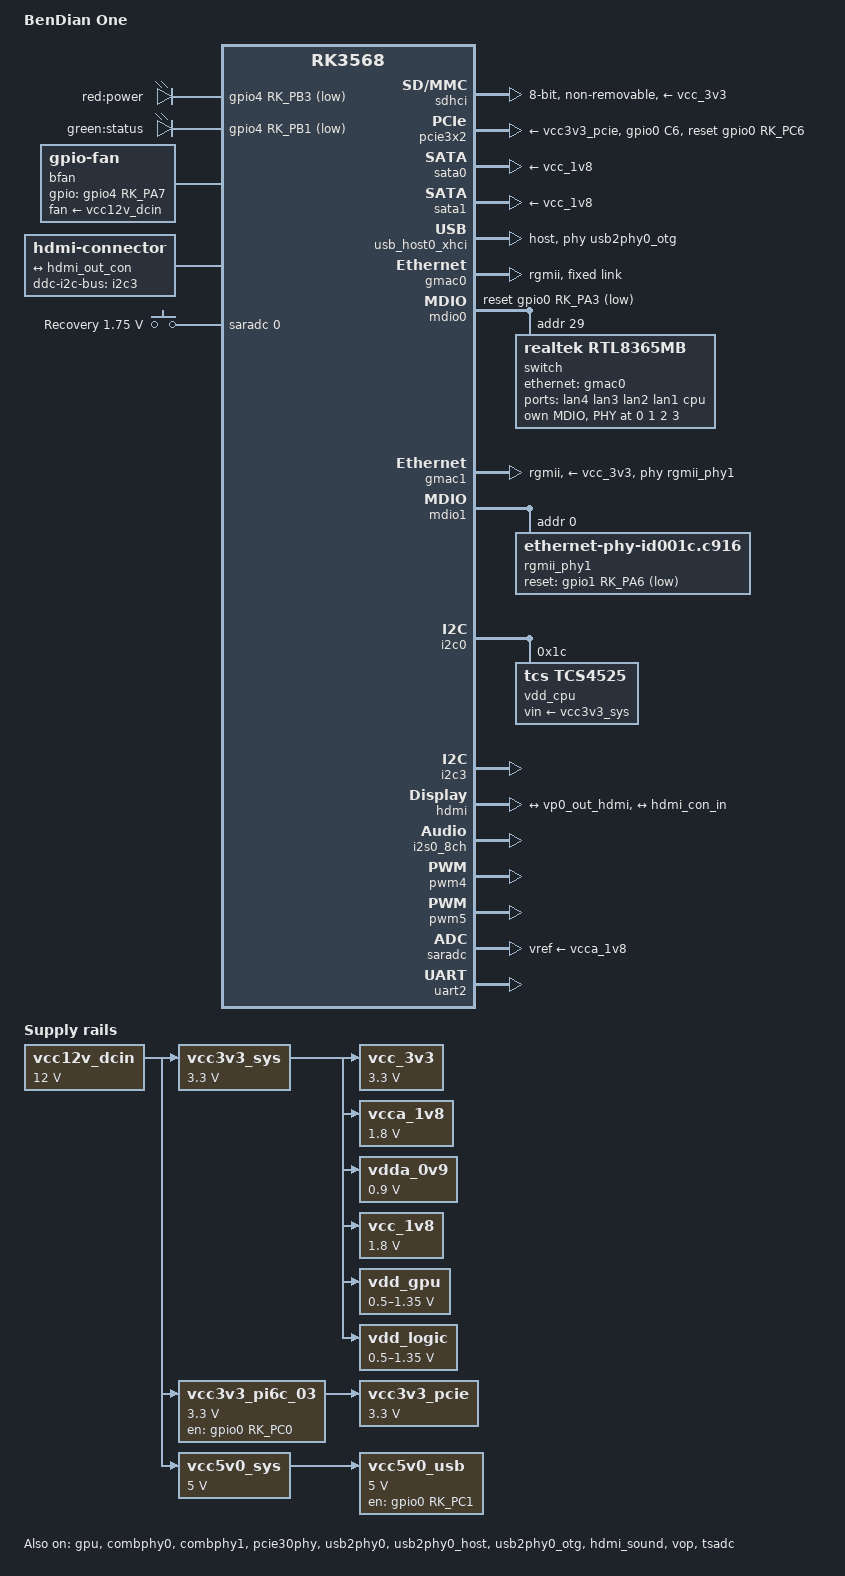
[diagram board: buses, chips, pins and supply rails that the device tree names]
// SPDX-License-Identifier: (GPL-2.0+ OR MIT)
/*
 * Ported to Linux 6.18 kernel.
 * rk3568-bd-one.k6.18v1.2-2026.09.29
 *
 * arch/arm64/boot/dts/rockchip/Makefile
 *   dtb-$(CONFIG_ARCH_ROCKCHIP) += rk3568-bd-one.dtb
 *
 *  GPU、SATA1、SATA2、USB、NVME、GMAC0、GMAC1、FAN、LED、温度传感器等功能已测试正常。
 *  vpu 禁用，HDMI无法正常使用。
 */

/dts-v1/;

#include <dt-bindings/gpio/gpio.h>
#include <dt-bindings/input/input.h>
#include <dt-bindings/leds/common.h>
#include <dt-bindings/pinctrl/rockchip.h>
#include <dt-bindings/soc/rockchip,vop2.h>
#include "rk3568.dtsi"
#include "rk3568-crypto.dtsi"

/ {
	model = "BenDian One";
	compatible = "bendian,bd-one", "rockchip,rk3568";

	aliases {
		ethernet0 = &gmac0;
		ethernet1 = &gmac1;
		mmc0 = &sdhci;
		led-boot     = &led_status;
		led-failsafe = &led_power;
		led-running  = &led_status;
		led-upgrade  = &led_power;
	};

	chosen {
		stdout-path = "serial2:1500000n8";
	};

	/* ---------------------------------------------------------------- */
	/*  Memory-reserved: CMA pool                                       */
	/* ---------------------------------------------------------------- */
	reserved-memory {
		#address-cells = <2>;
		#size-cells = <2>;
		ranges;

		cma: linux,cma {
			compatible = "shared-dma-pool";
			reusable;
			size = <0x0 0x10000000>;
			linux,cma-default;
		};
	};

	/* ---------------------------------------------------------------- */
	/*  LEDs                                                            */
	/* ---------------------------------------------------------------- */
	gpio-leds {
		compatible = "gpio-leds";
		pinctrl-names = "default";
		pinctrl-0 = <&power_led_pin &status_led_pin>;

		led_power: led-0 {
			label = "red:power";
			gpios = <&gpio4 RK_PB3 GPIO_ACTIVE_LOW>;
		};

		led_status: led-1 {
			label = "green:status";
			gpios = <&gpio4 RK_PB1 GPIO_ACTIVE_LOW>;
			linux,default-trigger = "heartbeat";
		};
	};

	/* ---------------------------------------------------------------- */
	/*  GPIO Fan 主板风扇 需要启用编译config：CONFIG_SENSORS_GPIO_FAN=y   */
	/* ---------------------------------------------------------------- */
	bfan: gpio-fan {
		compatible = "gpio-fan";
		fan-supply = <&vcc12v_dcin>; 
		gpios = <&gpio4 RK_PA7 GPIO_ACTIVE_HIGH>;
		gpio-fan,speed-map = <0 0 7500 1>;
		pinctrl-names = "default";
		pinctrl-0 = <&fan_pins>;
		#cooling-cells = <2>;
	};

	/* ---------------------------------------------------------------- */
	/*  HDMI connector                                                  */
	/* ---------------------------------------------------------------- */
	hdmi-con {
		compatible = "hdmi-connector";
		label = "hdmi";
		type = "a";
		status = "okay";
		ddc-i2c-bus = <&i2c3>;	/* DDC 走 I2C3，需要板子原理图确认 */

		port {
			hdmi_con_in: endpoint {
				remote-endpoint = <&hdmi_out_con>;
			};
		};
	};

	/* ---------------------------------------------------------------- */
	/*  ADC recovery button                                             */
	/* ---------------------------------------------------------------  */
	adc-keys {
		compatible = "adc-keys";
		io-channels = <&saradc 0>;
		io-channel-names = "buttons";
		keyup-threshold-microvolt = <1800000>;
		poll-interval = <100>;

		button-recovery {
			label = "Recovery";
			linux,code = <KEY_VENDOR>;
			press-threshold-microvolt = <1750000>;
		};
	};

	/* --------------------------------------------------------------- */
	/*  Power supply rails                                             */
	/* --------------------------------------------------------------- */
	vcc12v_dcin: vcc12v-dcin {
		compatible = "regulator-fixed";
		regulator-name = "vcc12v_dcin";
		regulator-always-on;
		regulator-boot-on;
		regulator-min-microvolt = <12000000>;
		regulator-max-microvolt = <12000000>;
	};

	vcc3v3_sys: vcc3v3-sys {
		compatible = "regulator-fixed";
		regulator-name = "vcc3v3_sys";
		regulator-always-on;
		regulator-boot-on;
		regulator-min-microvolt = <3300000>;
		regulator-max-microvolt = <3300000>;
		vin-supply = <&vcc12v_dcin>;
	};

	/* PCIe 3.0 SSD power:
	* GPIO0_C0 enable → vcc3v3_pi6c_03 → vcc3v3_pcie
	*/
	vcc3v3_pi6c_03: vcc3v3-pi6c-03 {
		compatible = "regulator-fixed";
		regulator-name = "vcc3v3_pi6c_03";
		enable-active-high;
		gpios = <&gpio0 RK_PC0 GPIO_ACTIVE_HIGH>;
		pinctrl-names = "default";
		pinctrl-0 = <&ssd_pwr_en>;
		regulator-min-microvolt = <3300000>;
		regulator-max-microvolt = <3300000>;
		vin-supply = <&vcc12v_dcin>;
		 /* “启动”时间等待 2000µs */
		regulator-enable-ramp-delay = <2000>;
	};

	vcc3v3_pcie: vcc3v3-pcie {
		compatible = "regulator-fixed";
		regulator-name = "vcc3v3_pcie";
		regulator-always-on;
		regulator-boot-on;
		regulator-min-microvolt = <3300000>;
		regulator-max-microvolt = <3300000>;
		vin-supply = <&vcc3v3_pi6c_03>;
	};

	vcc5v0_sys: vcc5v0-sys {
		compatible = "regulator-fixed";
		regulator-name = "vcc5v0_sys";
		regulator-always-on;
		regulator-boot-on;
		regulator-min-microvolt = <5000000>;
		regulator-max-microvolt = <5000000>;
		vin-supply = <&vcc12v_dcin>;
	};

	/* 5V USB power controlled by GPIO0_C1 */
	vcc5v0_usb: vcc5v0-usb {
		compatible = "regulator-fixed";
		regulator-name = "vcc5v0_usb";
		enable-active-high;
		gpios = <&gpio0 RK_PC1 GPIO_ACTIVE_HIGH>;
		pinctrl-names = "default";
		pinctrl-0 = <&usb_pwr_en>;
		regulator-min-microvolt = <5000000>;
		regulator-max-microvolt = <5000000>;
		vin-supply = <&vcc5v0_sys>;
	};

	vcc_3v3: vcc-3v3 {
		compatible = "regulator-fixed";
		regulator-name = "vcc_3v3";
		regulator-always-on;
		regulator-boot-on;
		regulator-min-microvolt = <3300000>;
		regulator-max-microvolt = <3300000>;
		vin-supply = <&vcc3v3_sys>;
	};

	vcca_1v8: vcca-1v8 {
		compatible = "regulator-fixed";
		regulator-name = "vcca_1v8";
		regulator-always-on;
		regulator-boot-on;
		regulator-min-microvolt = <1800000>;
		regulator-max-microvolt = <1800000>;
		vin-supply = <&vcc3v3_sys>;
	};

	vdda_0v9: vdda-0v9 {
		compatible = "regulator-fixed";
		regulator-name = "vdda_0v9";
		regulator-always-on;
		regulator-boot-on;
		regulator-min-microvolt = <900000>;
		regulator-max-microvolt = <900000>;
		vin-supply = <&vcc3v3_sys>;
	};

	/* 1.8V IO rail — board fixed regulator (NOT RK809 DCDC) */
	vcc_1v8: vcc-1v8 {
		compatible = "regulator-fixed";
		regulator-name = "vcc_1v8";
		regulator-always-on;
		regulator-boot-on;
		regulator-min-microvolt = <1800000>;
		regulator-max-microvolt = <1800000>;
		vin-supply = <&vcc3v3_sys>;
	};


	/* GPU core — PWM regulator on PWM4 (per factory DTS, NOT RK809) */
	vdd_gpu: vdd-gpu {
		compatible = "pwm-regulator";
		pwms = <&pwm4 0 5000 1>;
		pwm-supply = <&vcc3v3_sys>;
		regulator-name = "vdd_gpu";
		// regulator-always-on;
		// regulator-boot-on;
		regulator-init-microvolt = <900000>;
		regulator-min-microvolt = <500000>;
		regulator-max-microvolt = <1350000>;
		regulator-ramp-delay = <6001>;
		regulator-settling-time-up-us = <250>;
	};

	/* Logic core — PWM regulator on PWM5 (per factory DTS, NOT RK809) */
	vdd_logic: vdd-logic {
		compatible = "pwm-regulator";
		pwms = <&pwm5 0 5000 1>;
		pwm-supply = <&vcc3v3_sys>;
		regulator-name = "vdd_logic";
		// regulator-always-on;
		// regulator-boot-on;
		regulator-init-microvolt = <900000>;
		regulator-min-microvolt = <500000>;
		regulator-max-microvolt = <1350000>;
		regulator-ramp-delay = <6001>;
		regulator-settling-time-up-us = <250>;
	};
};

/* ====================================================================== */
/*  CPU / GPU power domains                                               */
/* ====================================================================== */
&cpu0 {
	cpu-supply = <&vdd_cpu>;
};

&cpu1 {
	cpu-supply = <&vdd_cpu>;
};

&cpu2 {
	cpu-supply = <&vdd_cpu>;
};

&cpu3 {
	cpu-supply = <&vdd_cpu>;
};

&gpu {
	// /delete-property/ operating-points-v2;
	mali-supply = <&vdd_gpu>;
	status = "okay";
};

/* ====================================================================== */
/*  eMMC(fe310000) -OK  use hs200 mode                                    */
/* ====================================================================== */
&sdhci {
	bus-width = <8>;
	max-frequency = <200000000>;
	non-removable;
	pinctrl-names = "default";
	pinctrl-0 = <&emmc_bus8 &emmc_clk &emmc_cmd>;
	mmc-hs200-1_8v;
	vmmc-supply = <&vcc_3v3>;
	vqmmc-supply = <&vcc_1v8>;
	status = "okay";
};

/* ====================================================================== */
/*  Combo PHYs                                                            */
/* ====================================================================== */
/* combphy0 (fe820000) —  sata0 和 usb_host0_xhci 共用                    */
&combphy0 {
	status = "okay";
};

/* combphy1 (fe830000) — sata1 使用 (PHY_TYPE_SATA) */
&combphy1 {
	status = "okay";
};

/* ====================================================================== */
/*  PCIe                                                                  */
/* ====================================================================== */
/* combphy2 (fe840000) → PCIe 2.0 (无硬件) */
// &combphy2 {
// 	status = "okay";
// };

/* PCIe 2.0 x1(fe260000) -原厂启用，但无对应硬件接口
 * 启用报：rockchip-dw-pcie 3c0000000.pcie: Phy link never came up  */
// &pcie2x1 {
// 	status = "okay";
// 	pinctrl-names = "default";
// 	pinctrl-0 = <&pcie20_reset_pin>;
// 	reset-gpios = <&gpio3 RK_PC1 GPIO_ACTIVE_HIGH>;
// 	vpcie3v3-supply = <&vcc3v3_sys>;
// };

/* pcie30phy(fe8c0000) → PCIe 3.0  */
&pcie30phy {
	data-lanes = <1 2>;
	status = "okay";
};

/* pcie3x2 (fe280000) -NVME SSD*/
&pcie3x2 {
	aspm-no-l0s;
	status = "okay";
	pinctrl-names = "default";
	pinctrl-0 = <&pcie30_reset_pin>;
	reset-gpios = <&gpio0 RK_PC6 GPIO_ACTIVE_HIGH>;
	reset-assert-us = <10000>;    /* reset 保持 10ms */
    reset-deassert-us = <10000>;  /* reset 释放后等待 10ms */
	vpcie3v3-supply = <&vcc3v3_pcie>;

};

/* ====================================================================== */
/*  SATA      2个SATA接口                                                 */
/* ====================================================================== */
/* (fc000000) */
&sata0 {
    status = "okay";
    ahci-supply = <&vcc_3v3>;
    phy-supply = <&vcc_1v8>;
};

/* (fc400000) */
&sata1 {
    status = "okay";
    ahci-supply = <&vcc_3v3>;
    phy-supply = <&vcc_1v8>;
};

// FIX:
// supply ahci not found, using dummy regulator
// supply phy not found, using dummy regulator

/* ====================================================================== */
/*  USB                                                                   */
/* ====================================================================== */
/*
 * 硬件连接（与正常固件 bdkj 对齐）：
 *   USB 3.0 Type-A 口 → DWC3 OTG (fcc00000)
 *   USB2.0 差分 → usb2phy0_otg (fe8a0000)
 *   USB3.0 SS   → combphy0     (fe820000, PHY_TYPE_USB3)
 *
 *   combphy0 同时被 sata0 (PHY_TYPE_SATA) 和usb_host0_xhci (PHY_TYPE_USB3) 引用：
 *   combphy0可能是分时复用，可以“同时”使用sata0和usb接口，也可能只能使用USB2.0
 *启用内核编译 config:
 *CONFIG_USB_DWC3_OF_SIMPLE=y    # 内置，开机即probe
 *CONFIG_USB_DWC3_HOST=y
 */
/* (fe8a0000) */
&usb2phy0 {
	status = "okay";
};

&usb2phy0_host {
	status = "okay";
	phy-supply = <&vcc5v0_usb>;
};

&usb2phy0_otg {
	status = "okay";
	phy-supply = <&vcc5v0_usb>;
};
/* (fcc00000) */
&usb_host0_xhci {
	status = "okay";
	dr_mode = "host";
	/* USB2.0 → usb2phy0_otg; USB3.0 SS → combphy0 */
	phys = <&usb2phy0_otg>, <&combphy0 PHY_TYPE_USB3>;
	phy-names = "usb2-phy", "usb3-phy";
	extcon = <&usb2phy0>;
};

/* usb2phy1(fe8b0000) 未连接到物理 USB 口，保持禁用（与厂家固件一致） */
// &usb2phy1 {
// 	status = "okay";
// };

// &usb2phy1_host {
// 	phy-supply = <&vcc5v0_usb>;
// 	status = "okay";
// };

// &usb2phy1_otg {
// 	status = "okay";
// };

/* 原厂未启用前3项，启用EHCI/OHCI 日志报：
* platform fd800000.usb: deferred probe pending
* EHCI/OHCI 挂在 usb2phy1_otg 上，物理口未连接，禁用 
*/
// /* (fd800000) */
// &usb_host0_ehci {
// 	status = "okay";
// };

// /* (fd840000) */
// &usb_host0_ohci {
// 	status = "okay";
// };

/* ====================================================================== */
/*  Ethernet                                                              */
/* ====================================================================== */
/*
 * GMAC0(fe2a0000) — connected to RTL8365MB 5-port switch
 * 4× LAN ports (lan1~lan4) + 1× CPU port (port7, fixed 1Gbps)
 */
&gmac0 {
	assigned-clocks = <&cru SCLK_GMAC0_RX_TX>, <&cru CLK_MAC0_OUT>;
	assigned-clock-parents = <&cru SCLK_GMAC0_RGMII_SPEED>;
	assigned-clock-rates = <0>, <125000000>;
	clock_in_out = "output";
	phy-mode = "rgmii";
	pinctrl-names = "default";
	pinctrl-0 = <&gmac0_miim
		     &gmac0_tx_bus2
		     &gmac0_rx_bus2
		     &gmac0_rgmii_clk
		     &gmac0_rgmii_bus>;
	tx_delay = <0x30>;
	rx_delay = <0x1f>;
	status = "okay";

	fixed-link {
		speed = <1000>;
		full-duplex;
	};
};

&mdio0 {
	compatible = "snps,dwmac-mdio";
	#address-cells = <1>;
	#size-cells = <0>;
	reset-gpios = <&gpio0 RK_PA3 GPIO_ACTIVE_LOW>;
	reset-assert-us = <10000>;
	reset-deassert-us = <50000>;

	/* RTL8365MB 5-port switch */
	switch@1d {
		compatible = "realtek,rtl8365mb";
		reg = <0x1d>;
		tx-internal-delay-ps = <0>;
		rx-internal-delay-ps = <0>;

		switch_intc: interrupt-controller {
			interrupt-controller;
			#address-cells = <0>;
			#interrupt-cells = <1>;
			interrupt-parent = <&gpio0>;
			interrupts = <RK_PA4 IRQ_TYPE_LEVEL_LOW>;
		};

		mdio {
			#address-cells = <1>;
			#size-cells = <0>;

			switch_phy0: ethernet-phy@0 {
				reg = <0>;
			};
			switch_phy1: ethernet-phy@1 {
				reg = <1>;
			};
			switch_phy2: ethernet-phy@2 {
				reg = <2>;
			};
			switch_phy3: ethernet-phy@3 {
				reg = <3>;
			};
		};

		ports {
			#address-cells = <1>;
			#size-cells = <0>;

			port@0 {
				reg = <0>;
				label = "lan4";
				phy-handle = <&switch_phy0>;
			};

			port@1 {
				reg = <1>;
				label = "lan3";
				phy-handle = <&switch_phy1>;
			};

			port@2 {
				reg = <2>;
				label = "lan2";
				phy-handle = <&switch_phy2>;
			};

			port@3 {
				reg = <3>;
				label = "lan1";
				phy-handle = <&switch_phy3>;
			};

			port@7 {
				reg = <7>;
				label = "cpu";
				ethernet = <&gmac0>;
				phy-mode = "rgmii";

				fixed-link {
					speed = <1000>;
					full-duplex;
				};
			};
		};
	};
};

/*
 * GMAC1(fe010000) — direct RTL8211 PHY (1× WAN)
 */
&gmac1 {
	assigned-clocks = <&cru SCLK_GMAC1_RX_TX>, <&cru CLK_MAC1_OUT>;
	assigned-clock-parents = <&cru SCLK_GMAC1_RGMII_SPEED>;
	assigned-clock-rates = <0>, <125000000>;
	clock_in_out = "output";
	phy-mode = "rgmii";
	phy-handle = <&rgmii_phy1>;
	phy-supply = <&vcc_3v3>;
	pinctrl-names = "default";
	pinctrl-0 = <&gmac1m0_miim
		     &gmac1m0_tx_bus2
		     &gmac1m0_rx_bus2
		     &gmac1m0_rgmii_clk
		     &gmac1m0_rgmii_bus>;
	tx_delay = <0x50>;
	rx_delay = <0x1f>;
	status = "okay";
};

&mdio1 {
	rgmii_phy1: ethernet-phy@0 {
		compatible = "ethernet-phy-id001c.c916",
		             "ethernet-phy-ieee802.3-c22";
		reg = <0>;		
		pinctrl-0 = <&eth_phy1_reset_pin>;
		pinctrl-names = "default";
		reset-gpios = <&gpio1 RK_PA6 GPIO_ACTIVE_LOW>;
		reset-assert-us = <20000>;
		reset-deassert-us = <100000>;

		realtek,led0-triggers = "activity";
		realtek,led1-triggers = "link-10", "link-100", "link-1000";
	};
};


/* ====================================================================== */
/*  I2C0(fdd40000) — CPU voltage regulator (TCS4525)                      */
/* ====================================================================== */
&i2c0 {
	status = "okay";

	vdd_cpu: regulator@1c {
		compatible = "tcs,tcs4525";
		reg = <0x1c>;
		fcs,suspend-voltage-selector = <1>;
		regulator-name = "vdd_cpu";
		regulator-always-on;
		regulator-boot-on;
		regulator-init-microvolt = <900000>;
		regulator-min-microvolt = <712500>;
		regulator-max-microvolt = <1390000>;
		regulator-ramp-delay = <2300>;
		vin-supply = <&vcc3v3_sys>;

		regulator-state-mem {
			regulator-off-in-suspend;
		};
	};

};

/* ====================================================================== */
/*  I2C3(fe5c0000) — board peripherals                                    */
/* ====================================================================== */
&i2c3 {
	status = "okay";
};

/* ====================================================================== */
/*  HDMI(fe0a0000)                                                        */
/* ====================================================================== */
&hdmi {
	avdd-0v9-supply = <&vdda_0v9>;
	avdd-1v8-supply = <&vcca_1v8>;
	ddc-i2c-bus = <&i2c3>;		/* 与 hdmi-con 保持一致 */
	status = "okay";

	ports {
		#address-cells = <1>;
		#size-cells = <0>;

		/* port@0 = 输入：从 VOP0 收视频数据 */
		port@0 {
			reg = <0>;
			#address-cells = <1>;
			#size-cells = <0>;

			hdmi_in_vp0: endpoint@0 {
				reg = <0>;
				remote-endpoint = <&vp0_out_hdmi>;
			};
		};

		/* port@1 = 输出：送到 HDMI 连接器 */
		port@1 {
			reg = <1>;
			#address-cells = <1>;
			#size-cells = <0>;

			hdmi_out_con: endpoint@0 {
				reg = <0>;
				remote-endpoint = <&hdmi_con_in>;
			};
		};
	};
};

&hdmi_sound {
	status = "okay";
};

/* ====================================================================== */
/*  VOP (fe040000)   --视频输出处理                                        */
/* ====================================================================== */
&vop {
	compatible = "rockchip,rk3568-vop";
	assigned-clocks = <&cru DCLK_VOP0>, <&cru DCLK_VOP1>;
	assigned-clock-parents = <&pmucru PLL_HPLL>, <&cru CLK_RTC_32K>;
	status = "okay";
};

&vp0 {
	vp0_out_hdmi: endpoint@ROCKCHIP_VOP2_EP_HDMI0 {
		reg = <ROCKCHIP_VOP2_EP_HDMI0>;
		remote-endpoint = <&hdmi_in_vp0>;
	};
};

&vop_mmu {
	status = "okay";
};

/* ====================================================================== */
/*  Audio (I2S0 → HDMI)  (fe400000)                                       */
/* ====================================================================== */
&i2s0_8ch {
	#sound-dai-cells = <0>;
	status = "okay";
};

/* ====================================================================== */
/*  PWM regulators   (fe6e0000/fe6e0010) 脉冲宽度调制器                    */
/* ====================================================================== */
&pwm4 {
	status = "okay";
};

&pwm5 {
	status = "okay";
};

/* ====================================================================== */
/*  Thermal / TSADC (fe710000)   -温度传感器                               */
/* ====================================================================== */
&tsadc {
	rockchip,hw-tshut-mode = <1>;    /* CRU reset */
	rockchip,hw-tshut-polarity = <0>;/* active low */
	status = "okay";
};

&cpu_thermal {

	trips {
		cpu_trip_active_low: cpu-trip-active-low {
			temperature = <55000>;
			hysteresis = <2000>;
			type = "active";
		};

		cpu_trip_active_med: cpu-trip-active-med {
			temperature = <70000>;
			hysteresis = <2000>;
			type = "active";
		};

		cpu_trip_active_high: cpu-trip-active-high {
			temperature = <85000>;
			hysteresis = <2000>;
			type = "hot";
		};
	};

	cooling-maps {

		cpu-active-low {
			cooling-device = <&bfan 1 1>;
			trip = <&cpu_trip_active_low>;
		};

		cpu-active-med {
			cooling-device = <&bfan 1 1>;
			trip = <&cpu_trip_active_med>;
		};

		cpu-active-high {
			cooling-device = <&bfan 1 1>;
			trip = <&cpu_trip_active_high>;
		};
	};
};

/* ====================================================================== */
/*  SARADC (fe720000)  Rest/Recovery 按键                                 */
/* ====================================================================== */
&saradc {
	vref-supply = <&vcca_1v8>;
	status = "okay";
};

/* ====================================================================== */
/*  Crypto / RNG                                                          */
/* ====================================================================== */
// rk3568-crypto.dtsi中已启用。
// &crypto {
// 	status = "okay";
// };

// &rng {
// 	status = "okay";
// };

/* ====================================================================== */
/*  IO Domains (PMU GRF)                                                  */
/* ====================================================================== */
&pmu_io_domains {
	compatible = "rockchip,rk3568-pmu-io-voltage-domain";
	status = "okay";
	pmuio1-supply = <&vcc_3v3>;
	pmuio2-supply = <&vcc_3v3>;
	vccio1-supply = <&vcc_3v3>;
	vccio2-supply = <&vcc_1v8>;
	vccio3-supply = <&vcc_3v3>;
	vccio4-supply = <&vcc_3v3>;
	vccio5-supply = <&vcc_3v3>;
	vccio6-supply = <&vcc_3v3>;
	vccio7-supply = <&vcc_3v3>;
};

/* ====================================================================== */
/*  UART2 — debug console                                                 */
/* ====================================================================== */
&uart2 {
	status = "okay";
};

/* ====================================================================== */
/*  VPU —fix:power domain sync_state() pending due to fdea0000.video-codec*/
/* ====================================================================== */
&vpu { status = "disabled"; };
&vdec { status = "disabled"; };
&vepu { status = "disabled"; };

/* ====================================================================== */
/*  Pinctrl additions                                                     */
/* ====================================================================== */
&pinctrl {

	fan {
		fan_pins: fan-pins {
			rockchip,pins = <4 RK_PA7 RK_FUNC_GPIO &pcfg_pull_none>;
		};
	};

	gpio-leds {
		power_led_pin: power-led-pin {
			rockchip,pins = <4 RK_PB3 RK_FUNC_GPIO &pcfg_pull_none>;
		};

		status_led_pin: status-led-pin {
			rockchip,pins = <4 RK_PB1 RK_FUNC_GPIO &pcfg_pull_none>;
		};
	};

	pcie20 {
		pcie20_reset_pin: pcie20-reset-pin {
			rockchip,pins = <3 RK_PC1 RK_FUNC_GPIO &pcfg_pull_down>;
		};
	};

	pcie30 {
		pcie30_reset_pin: pcie30-reset-pin {
			rockchip,pins = <0 RK_PC6 RK_FUNC_GPIO &pcfg_pull_down>;
		};

		ssd_pwr_en: ssd-pwr-en {
			rockchip,pins = <0 RK_PC0 RK_FUNC_GPIO &pcfg_pull_down>;
		};
	};

	usb {
		usb_pwr_en: usb-pwr-en {
			rockchip,pins = <0 RK_PC1 RK_FUNC_GPIO &pcfg_pull_down>;
		};
	};

	gmac1 {
		eth_phy1_reset_pin: eth-phy1-reset-pin {
			rockchip,pins = <1 RK_PA6 RK_FUNC_GPIO &pcfg_pull_none>;
		};
	};
};
